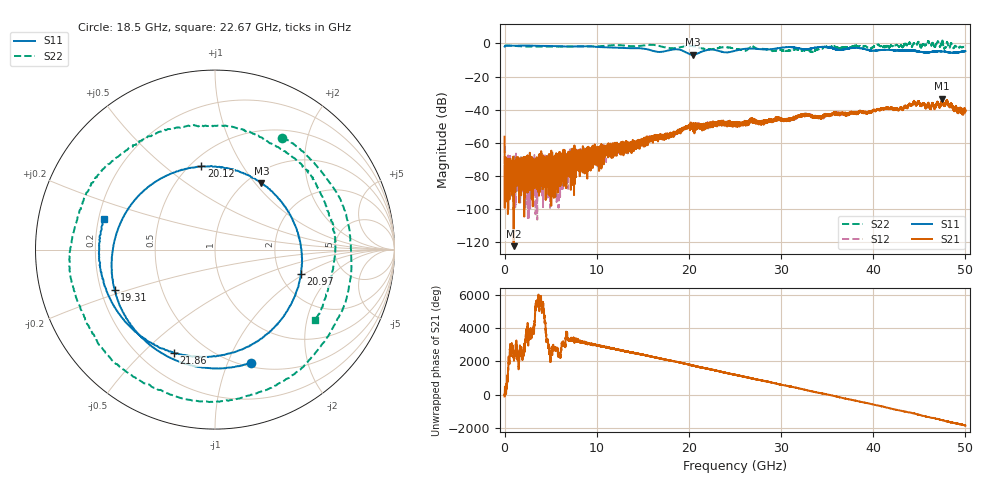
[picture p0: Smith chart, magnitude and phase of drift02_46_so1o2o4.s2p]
!Created with skrf (http://scikit-rf.org).
# Hz S RI R 50.0
!freq ReS11 ImS11 ReS21 ImS21 ReS12 ImS12 ReS22 ImS22
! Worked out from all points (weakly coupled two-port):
!   10001 points, 300 kHz to 50 GHz, reference 50 ohm
!   highest |S21| = -33.28 dB at 47.48 GHz (marker M1); lowest = -122.2 dB at 980.3 MHz (marker M2)
!   lowest |S11| = -6.9 dB at 20.43 GHz (marker M3), VSWR 2.64, Z = 58.1 + j53.8 ohm
!   |S11| at or under -10 dB: nowhere
!   |S22| runs from -5.3 to 1.7 dB; largest |S21 - S12| = 0.0035
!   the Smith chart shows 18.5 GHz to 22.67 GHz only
!   S11 on the Smith chart (normalised r, x): 18.5 GHz: 0.54, -1.22; 19.31 GHz: 0.26, -0.18; 20.12 GHz: 0.57, +0.68; 20.97 GHz: 2.59, -0.93; 21.86 GHz: 0.33, -0.62; 22.67 GHz: 0.22, +0.13
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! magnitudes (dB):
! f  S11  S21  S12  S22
! 300 kHz  -2.1  -56.3  -61.7  -1.3
! 255.3 MHz  -1.4  -72.6  -91.8  -1.4
! 980.3 MHz  -1.5  -122.2  -81.0  -1.5
! 4.36 GHz  -1.6  -81.4  -81.8  -2.0
! 8.335 GHz  -1.7  -69.9  -64.8  -1.9
! 16.67 GHz  -5.2  -57.1  -57.7  -1.4
! 18.5 GHz  -3.6  -54.2  -54.2  -2.8
! 19.31 GHz  -4.4  -50.9  -51.3  -2.1
! 20.12 GHz  -6.5  -50.1  -49.7  -1.5
! 20.43 GHz  -6.9  -51.4  -51.0  -1.7
! 20.97 GHz  -6.1  -50.2  -50.0  -2.2
! 21.86 GHz  -4.2  -50.1  -50.2  -3.4
! 22.67 GHz  -3.9  -48.9  -47.9  -3.3
! 25 GHz  -4.5  -47.7  -48.9  -3.2
! 26.11 GHz  -3.3  -48.7  -48.5  -4.3
! 26.91 GHz  -3.2  -46.7  -46.6  -1.7
! 33.34 GHz  -3.0  -43.7  -44.2  -5.1
! 34.9 GHz  -2.3  -43.1  -43.8  -2.0
! 41.67 GHz  -3.9  -39.3  -39.4  -2.1
! 44.42 GHz  -4.3  -35.1  -35.1  0.1
! 47.48 GHz  -4.9  -33.3  -34.2  1.4
! 50 GHz  -4.7  -40.6  -39.8  -1.4
